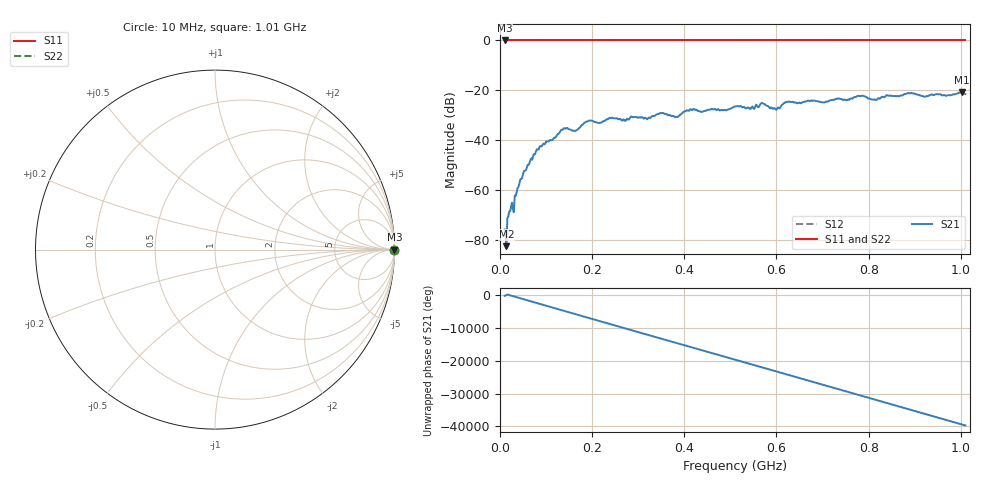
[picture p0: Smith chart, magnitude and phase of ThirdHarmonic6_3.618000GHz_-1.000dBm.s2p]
! 8/17/2025 12:06:18 PM
! C:\ANRITSUVNA\TEMP\TEMP.S2P
! CHANNEL.1
! TR.MEASUREMENT
! RAW.DATA
! RF.CORRECTION.OFF
! AVERAGING.OFF
! IF.BANDWIDTH: 5KHZ
! SWEEPTYPE:  FREQ.SWEEP(Linear)
! Reference Plane Port Info
! PORT:  PORT1  PORT2
! DISTANCE:  0  m  0  m
! TIME:  0  s  0  s
! PHASE.OFFSET:  0  deg.  0  deg.
! LOSS:  0  dB  0  dB
! REF.LOSS:  0  dB  0  dB
! REF.FREQ:  0  Hz  0  Hz
! Power Info
! POWER:  -20  dBm  -20  dBm
! EFF.POWER:  -20  dBm  -20  dBm
! SOURCE.ATTEN:  0  dB  0  dB
! TEST.ATTEN:  0  dB  0  dB
# GHZ S RI R 50.0
! FREQ.GHZ  S11RE  S11IM  S21RE  S21IM  S12RE  S12IM  S22RE  S22IM
!; PortSelection: Port_12
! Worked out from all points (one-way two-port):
!   501 points, 10 MHz to 1.01 GHz, reference 50 ohm
!   highest |S21| = -20.70 dB at 1.002 GHz (marker M1); lowest = -82.3 dB at 14 MHz (marker M2)
!   lowest |S11| = 0.0 dB at 10 MHz (marker M3)
!   |S11| at or under -10 dB: nowhere
!   |S22| runs from 0.0 to 0.0 dB; largest |S21 - S12| = 1.1
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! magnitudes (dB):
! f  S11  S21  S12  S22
! 10 MHz  0.0  -75.6  0.0  0.0
! 14 MHz  0.0  -82.3  0.0  0.0
! 22 MHz  0.0  -68.3  0.0  0.0
! 32 MHz  0.0  -62.0  0.0  0.0
! 48 MHz  0.0  -55.0  0.0  0.0
! 78 MHz  0.0  -44.4  0.0  0.0
! 136 MHz  0.0  -35.7  0.0  0.0
! 162 MHz  0.0  -36.2  0.0  0.0
! 178 MHz  0.0  -33.8  0.0  0.0
! 194 MHz  0.0  -32.0  0.0  0.0
! 344 MHz  0.0  -29.5  0.0  0.0
! 384 MHz  0.0  -30.6  0.0  0.0
! 416 MHz  0.0  -27.9  0.0  0.0
! 510 MHz  0.0  -26.4  0.0  0.0
! 548 MHz  0.0  -26.4  0.0  0.0
! 570 MHz  0.0  -25.1  0.0  0.0
! 596 MHz  0.0  -27.0  0.0  0.0
! 624 MHz  0.0  -24.5  0.0  0.0
! 678 MHz  0.0  -24.1  0.0  0.0
! 844 MHz  0.0  -22.1  0.0  0.0
! 1.002 GHz  0.0  -20.7  0.0  0.0
! 1.01 GHz  0.0  -21.5  0.0  0.0
